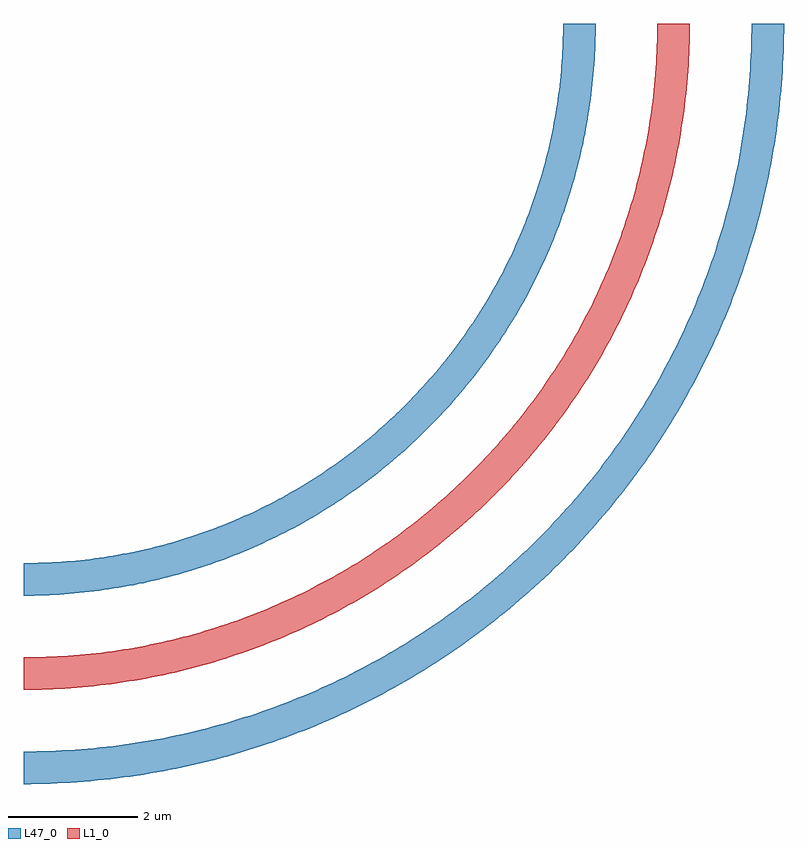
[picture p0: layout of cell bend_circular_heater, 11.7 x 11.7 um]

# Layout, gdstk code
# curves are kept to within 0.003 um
import gdstk
lib = gdstk.Library(unit=1e-6, precision=1e-09)
def P(c, l, *ps):  # polygons
    for p in ps: c.add(gdstk.Polygon(p, *l))
L1_0 = (1, 0)
L47_0 = (47, 0)

bend_circular_heater = lib.new_cell('bend_circular_heater')
P(bend_circular_heater, L1_0, [(0.09,-0.25),(0.36,-0.244),(0.629,-0.231),(1.077,-0.193),(1.434,-0.149),(1.701,-0.108),(2.143,-0.024),(2.406,0.036),(2.667,0.103),(2.841,0.151),(3.185,0.257),(3.44,0.344),(3.693,0.438),(4.109,0.61),(4.517,0.799),(4.677,0.879),(4.995,1.049),(5.229,1.184),(5.459,1.324),(5.76,1.521),(5.908,1.624),(6.126,1.782),(6.34,1.946),(6.688,2.232),(6.89,2.411),(7.152,2.657),(7.446,2.956),(6.741,2.956),(6.554,2.781),(6.361,2.611),(6.165,2.446),(5.964,2.287),(5.62,2.032),(5.337,1.84),(5.12,1.702),(4.676,1.444),(4.449,1.324),(4.219,1.21),(3.987,1.102),(3.751,1),(3.272,0.815),(2.948,0.706),(2.702,0.632),(2.455,0.564),(2.038,0.465),(1.618,0.385),(1.195,0.323),(0.769,0.28),(0.428,0.259),(0,0.25),(0,-0.25)],
  [(7.467,2.978),(7.768,3.312),(7.998,3.589),(8.164,3.802),(8.428,4.166),(8.676,4.541),(8.907,4.927),(9.121,5.323),(9.317,5.727),(9.426,5.974),(9.529,6.223),(9.656,6.56),(9.743,6.815),(9.849,7.159),(9.964,7.594),(10.06,8.033),(10.108,8.299),(10.149,8.566),(10.173,8.744),(10.211,9.102),(10.231,9.371),(10.244,9.64),(10.25,10),(9.75,10),(9.747,9.743),(9.732,9.401),(9.705,9.06),(9.677,8.805),(9.629,8.466),(9.585,8.213),(9.535,7.962),(9.478,7.711),(9.391,7.38),(9.294,7.052),(9.185,6.728),(9.126,6.567),(9,6.249),(8.898,6.013),(8.714,5.627),(8.556,5.324),(8.298,4.88),(8.113,4.592),(7.868,4.241),(7.608,3.902),(7.333,3.574),(7.044,3.259),(6.741,2.956),(7.446,2.956)])
P(bend_circular_heater, L47_0, [(0.103,-1.7),(0.616,-1.684),(1.128,-1.646),(1.434,-1.612),(1.739,-1.57),(1.942,-1.538),(2.345,-1.463),(2.846,-1.349),(3.144,-1.27),(3.439,-1.183),(3.732,-1.089),(4.023,-0.987),(4.311,-0.877),(4.596,-0.76),(4.877,-0.635),(5.156,-0.503),(5.611,-0.267),(5.791,-0.167),(6.144,0.043),(6.404,0.208),(6.659,0.38),(7.075,0.681),(7.398,0.935),(7.634,1.133),(7.864,1.337),(8.09,1.547),(8.453,1.91),(7.744,1.909),(7.455,1.642),(7.233,1.448),(6.851,1.139),(6.615,0.962),(6.375,0.791),(5.965,0.52),(5.628,0.317),(5.372,0.172),(4.935,-0.054),(4.669,-0.18),(4.399,-0.3),(4.127,-0.412),(3.851,-0.517),(3.386,-0.676),(2.915,-0.814),(2.437,-0.932),(1.956,-1.028),(1.665,-1.076),(1.373,-1.116),(0.982,-1.157),(0.491,-1.189),(0,-1.2),(0,-1.7)],
  [(8.523,1.985),(8.867,2.366),(9.065,2.602),(9.193,2.763),(9.319,2.925),(9.502,3.173),(9.678,3.425),(9.848,3.682),(10.011,3.944),(10.167,4.209),(10.411,4.661),(10.635,5.123),(10.76,5.404),(10.877,5.689),(11.056,6.17),(11.121,6.365),(11.242,6.757),(11.349,7.154),(11.42,7.454),(11.483,7.755),(11.538,8.058),(11.585,8.363),(11.646,8.872),(11.664,9.077),(11.689,9.487),(11.7,10),(11.2,10),(11.196,9.705),(11.179,9.312),(11.157,9.018),(11.116,8.627),(11.076,8.335),(11.028,8.044),(10.973,7.755),(10.91,7.467),(10.814,7.085),(10.734,6.802),(10.646,6.52),(10.55,6.241),(10.448,5.965),(10.338,5.691),(10.221,5.421),(10.054,5.065),(9.828,4.628),(9.583,4.203),(9.48,4.035),(9.319,3.788),(9.038,3.385),(8.861,3.149),(8.739,2.995),(8.552,2.767),(8.423,2.618),(8.159,2.327),(7.954,2.115),(7.746,1.91),(8.453,1.91)],
  [(0.077,1.2),(0.463,1.212),(0.694,1.227),(1.002,1.257),(1.46,1.322),(1.84,1.394),(2.29,1.503),(2.513,1.566),(2.734,1.635),(3.098,1.763),(3.457,1.907),(3.878,2.1),(4.288,2.315),(4.687,2.552),(4.817,2.635),(5.072,2.809),(5.383,3.038),(5.742,3.331),(6.085,3.642),(6.411,3.971),(5.705,3.971),(5.525,3.806),(5.36,3.663),(5.019,3.389),(4.664,3.134),(4.358,2.936),(3.981,2.717),(3.592,2.517),(3.327,2.396),(3.126,2.311),(2.785,2.181),(2.509,2.088),(2.09,1.967),(1.735,1.883),(1.377,1.815),(1.089,1.772),(0.727,1.732),(0.364,1.708),(0,1.7),(0,1.2)],
  [(6.463,4.028),(6.769,4.376),(6.962,4.617),(7.235,4.991),(7.448,5.313),(7.647,5.645),(7.83,5.984),(7.9,6.122),(8.031,6.402),(8.181,6.758),(8.29,7.047),(8.365,7.266),(8.434,7.487),(8.536,7.859),(8.637,8.312),(8.702,8.692),(8.734,8.922),(8.759,9.152),(8.792,9.614),(8.8,10),(8.3,10),(8.295,9.709),(8.28,9.418),(8.246,9.055),(8.208,8.766),(8.159,8.479),(8.117,8.265),(8.051,7.981),(7.995,7.77),(7.912,7.491),(7.769,7.078),(7.604,6.673),(7.483,6.408),(7.385,6.212),(7.212,5.892),(7.064,5.642),(6.866,5.336),(6.611,4.981),(6.384,4.696),(6.194,4.475),(5.946,4.209),(5.705,3.971),(6.411,3.971)])

lib.write_gds('bend_circular_heater.gds')
